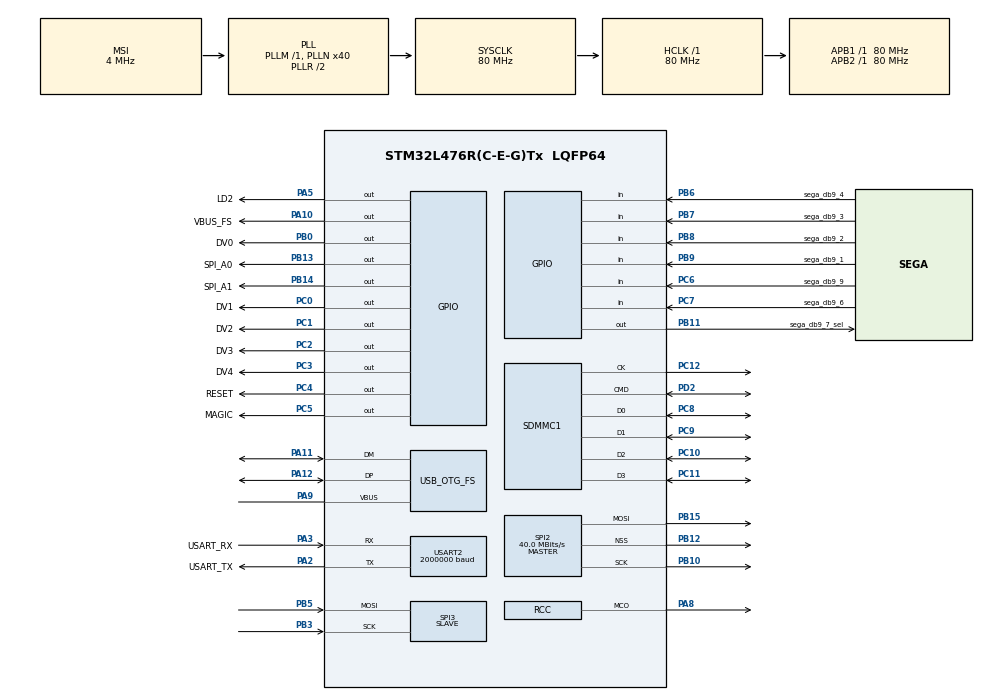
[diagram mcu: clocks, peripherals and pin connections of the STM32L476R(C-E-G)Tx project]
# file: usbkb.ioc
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Dma.Request0=USART2_RX
Dma.Request1=USART2_TX
Dma.Request2=SPI2_TX
Dma.SPI2_TX.2.Direction=DMA_MEMORY_TO_PERIPH
Dma.SPI2_TX.2.Instance=DMA1_Channel5
Dma.SPI2_TX.2.MemDataAlignment=DMA_MDATAALIGN_BYTE
Dma.SPI2_TX.2.MemInc=DMA_MINC_ENABLE
Dma.SPI2_TX.2.Mode=DMA_NORMAL
Dma.SPI2_TX.2.PeriphDataAlignment=DMA_PDATAALIGN_BYTE
Dma.SPI2_TX.2.PeriphInc=DMA_PINC_DISABLE
Dma.SPI2_TX.2.Priority=DMA_PRIORITY_LOW
Dma.USART2_RX.0.Direction=DMA_PERIPH_TO_MEMORY
Dma.USART2_RX.0.Instance=DMA1_Channel6
Dma.USART2_RX.0.MemDataAlignment=DMA_MDATAALIGN_BYTE
Dma.USART2_RX.0.MemInc=DMA_MINC_ENABLE
Dma.USART2_RX.0.Mode=DMA_CIRCULAR
Dma.USART2_RX.0.PeriphDataAlignment=DMA_PDATAALIGN_BYTE
Dma.USART2_RX.0.PeriphInc=DMA_PINC_DISABLE
Dma.USART2_RX.0.Priority=DMA_PRIORITY_LOW
Dma.USART2_TX.1.Direction=DMA_MEMORY_TO_PERIPH
Dma.USART2_TX.1.Instance=DMA1_Channel7
Dma.USART2_TX.1.MemDataAlignment=DMA_MDATAALIGN_BYTE
Dma.USART2_TX.1.MemInc=DMA_MINC_ENABLE
Dma.USART2_TX.1.Mode=DMA_NORMAL
Dma.USART2_TX.1.PeriphDataAlignment=DMA_PDATAALIGN_BYTE
Dma.USART2_TX.1.PeriphInc=DMA_PINC_DISABLE
Dma.USART2_TX.1.Priority=DMA_PRIORITY_LOW
Mcu.Family=STM32L4
Mcu.Name=STM32L476R(C-E-G)Tx
Mcu.Package=LQFP64
NVIC.DMA1_Channel5_IRQn=true\:0\:0\:false\:false\:true\:false\:true\:true
NVIC.DMA1_Channel6_IRQn=true\:0\:0\:false\:false\:true\:false\:true\:true
NVIC.DMA1_Channel7_IRQn=true\:0\:0\:false\:false\:true\:false\:true\:true
NVIC.OTG_FS_IRQn=true\:0\:0\:false\:false\:true\:true\:true\:true
NVIC.PriorityGroup=NVIC_PRIORITYGROUP_4
NVIC.SPI2_IRQn=true\:0\:0\:false\:false\:true\:true\:true\:true
NVIC.SPI3_IRQn=true\:0\:0\:false\:false\:true\:true\:true\:true
NVIC.TIM3_IRQn=true\:0\:0\:false\:false\:true\:true\:true\:true
NVIC.TIM7_IRQn=true\:15\:0\:false\:false\:true\:false\:true\:true
NVIC.TimeBase=TIM7_IRQn
NVIC.TimeBaseIP=TIM7
NVIC.USART2_IRQn=true\:0\:0\:false\:false\:true\:true\:true\:true
PA10.GPIO_Label=VBUS_FS
PA10.Signal=GPIO_Output
PA11.Mode=Host_Only
PA11.Signal=USB_OTG_FS_DM
PA12.Mode=Host_Only
PA12.Signal=USB_OTG_FS_DP
PA13\ (JTMS-SWDIO).GPIO_Label=TMS
PA13\ (JTMS-SWDIO).Mode=Serial_Wire
PA13\ (JTMS-SWDIO).Signal=SYS_JTMS-SWDIO
PA14\ (JTCK-SWCLK).GPIO_Label=TCK
PA14\ (JTCK-SWCLK).Mode=Serial_Wire
PA14\ (JTCK-SWCLK).Signal=SYS_JTCK-SWCLK
PA2.GPIO_Label=USART_TX
PA2.GPIO_Mode=GPIO_MODE_AF_PP
PA2.GPIO_PuPd=GPIO_NOPULL
PA2.GPIO_Speed=GPIO_SPEED_FREQ_VERY_HIGH
PA2.Mode=Asynchronous
PA2.Signal=USART2_TX
PA3.GPIO_Label=USART_RX
PA3.GPIO_Mode=GPIO_MODE_AF_PP
PA3.GPIO_PuPd=GPIO_NOPULL
PA3.GPIO_Speed=GPIO_SPEED_FREQ_VERY_HIGH
PA3.Mode=Asynchronous
PA3.Signal=USART2_RX
PA5.GPIO_Label=LD2
PA5.Signal=GPIO_Output
PA8.Mode=Clock-out
PA8.Signal=RCC_MCO
PA9.Mode=Activate_VBUS
PA9.Signal=USB_OTG_FS_VBUS
PB0.GPIO_Label=DV0
PB0.Signal=GPIO_Output
PB10.GPIO_PuPd=GPIO_NOPULL
PB10.Mode=TX_Only_Simplex_Unidirect_Master
PB10.Signal=SPI2_SCK
PB11.GPIO_Label=sega_db9_7_sel
PB11.GPIO_PuPd=GPIO_PULLDOWN
PB11.Signal=GPIO_Output
PB12.GPIO_PuPd=GPIO_NOPULL
PB12.Mode=NSS_Signal_Hard_Output
PB12.Signal=SPI2_NSS
PB13.GPIO_Label=SPI_A0
PB13.Signal=GPIO_Output
PB14.GPIO_Label=SPI_A1
PB14.Signal=GPIO_Output
PB15.GPIO_PuPd=GPIO_NOPULL
PB15.Mode=TX_Only_Simplex_Unidirect_Master
PB15.Signal=SPI2_MOSI
PB3\ (JTDO-TRACESWO).Mode=RX_Only_Simplex_Unidirect_Slave
PB3\ (JTDO-TRACESWO).Signal=SPI3_SCK
PB5.Mode=RX_Only_Simplex_Unidirect_Slave
PB5.Signal=SPI3_MOSI
PB6.GPIO_Label=sega_db9_4
PB6.GPIO_PuPd=GPIO_PULLDOWN
PB6.Signal=GPIO_Input
PB7.GPIO_Label=sega_db9_3
PB7.GPIO_PuPd=GPIO_PULLDOWN
PB7.Signal=GPIO_Input
PB8.GPIO_Label=sega_db9_2
PB8.GPIO_PuPd=GPIO_PULLDOWN
PB8.Signal=GPIO_Input
PB9.GPIO_Label=sega_db9_1
PB9.GPIO_PuPd=GPIO_PULLDOWN
PB9.Signal=GPIO_Input
PC0.GPIO_Label=DV1
PC0.Signal=GPIO_Output
PC1.GPIO_Label=DV2
PC1.Signal=GPIO_Output
PC10.Mode=SD_4_bits_Wide_bus
PC10.Signal=SDMMC1_D2
PC11.Mode=SD_4_bits_Wide_bus
PC11.Signal=SDMMC1_D3
PC12.Mode=SD_4_bits_Wide_bus
PC12.Signal=SDMMC1_CK
PC2.GPIO_Label=DV3
PC2.Signal=GPIO_Output
PC3.GPIO_Label=DV4
PC3.Signal=GPIO_Output
PC4.GPIO_Label=RESET
PC4.GPIO_ModeDefaultOutputPP=GPIO_MODE_OUTPUT_PP
PC4.PinState=GPIO_PIN_SET
PC4.Signal=GPIO_Output
PC5.GPIO_Label=MAGIC
PC5.GPIO_ModeDefaultOutputPP=GPIO_MODE_OUTPUT_OD
PC5.PinState=GPIO_PIN_SET
PC5.Signal=GPIO_Output
PC6.GPIO_Label=sega_db9_9
PC6.GPIO_PuPd=GPIO_PULLDOWN
PC6.Signal=GPIO_Input
PC7.GPIO_Label=sega_db9_6
PC7.GPIO_PuPd=GPIO_PULLDOWN
PC7.Signal=GPIO_Input
PC8.Mode=SD_4_bits_Wide_bus
PC8.Signal=SDMMC1_D0
PC9.Mode=SD_4_bits_Wide_bus
PC9.Signal=SDMMC1_D1
PD2.Mode=SD_4_bits_Wide_bus
PD2.Signal=SDMMC1_CMD
ProjectManager.HeapSize=0x4000
ProjectManager.StackSize=0x4000
ProjectManager.TargetToolchain=Makefile
RCC.ADCFreq_Value=48000000
RCC.AHBFreq_Value=80000000
RCC.APB1Freq_Value=80000000
RCC.APB1TimFreq_Value=80000000
RCC.APB2Freq_Value=80000000
RCC.APB2TimFreq_Value=80000000
RCC.CortexFreq_Value=80000000
RCC.HCLKFreq_Value=80000000
RCC.HSE_VALUE=8000000
RCC.HSI_VALUE=16000000
RCC.LSE_VALUE=32768
RCC.MSI_VALUE=4000000
RCC.PLLN=40
RCC.PLLSAI1N=24
RCC.PREFETCH_ENABLE=1
RCC.SYSCLKFreq_VALUE=80000000
RCC.SYSCLKSource=RCC_SYSCLKSOURCE_PLLCLK
RCC.USBFreq_Value=48000000
RCC.VCOOutputFreq_Value=160000000
SPI2.BaudRatePrescaler=SPI_BAUDRATEPRESCALER_2
SPI2.CalculateBaudRate=40.0 MBits/s
SPI2.DataSize=SPI_DATASIZE_8BIT
SPI2.Direction=SPI_DIRECTION_2LINES
SPI2.Mode=SPI_MODE_MASTER
SPI2.VirtualNSS=VM_NSSHARD
SPI2.VirtualType=VM_MASTER
SPI3.DataSize=SPI_DATASIZE_11BIT
SPI3.Direction=SPI_DIRECTION_2LINES_RXONLY
SPI3.FirstBit=SPI_FIRSTBIT_LSB
SPI3.Mode=SPI_MODE_SLAVE
SPI3.VirtualType=VM_SLAVE
USART2.BaudRate=2000000
USART2.VirtualMode-Asynchronous=VM_ASYNC
USB_HOST.BSP.number=1
USB_HOST.USBH_DEBUG_LEVEL=3
USB_HOST.USBH_HandleTypeDef=hUsbHostFS
USB_HOST.VirtualModeFS=Hid
USB_HOST0.BSP.STBoard=false
USB_HOST0.BSP.api=Unknown
USB_HOST0.BSP.instance=PA10
USB_HOST0.BSP.ip=GPIO
USB_HOST0.BSP.mode=Output
USB_HOST0.BSP.name=Drive_VBUS_FS
USB_HOST0.BSP.solution=PA10
USB_OTG_FS.VirtualMode=Host_Only
USB_OTG_FS.phy_itface=HCD_PHY_EMBEDDED
VP_SYS_VS_tim7.Mode=TIM7
VP_TIM3_VS_OPM.Mode=OPM_bit
VP_USB_HOST_VS_USB_HOST_HID_FS.Mode=HID_FS
board=NUCLEO-L476RG

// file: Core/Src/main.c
/* USER CODE BEGIN Header */
/**
  ******************************************************************************
  * @file           : main.c
  * @brief          : Main program body
  ******************************************************************************
  * @attention
  *
  * <h2><center>&copy; Copyright (c) 2021 STMicroelectronics.
  * All rights reserved.</center></h2>
  *
  * This software component is licensed by ST under Ultimate Liberty license
  * SLA0044, the "License"; You may not use this file except in compliance with
  * the License. You may obtain a copy of the License at:
  *                             www.st.com/SLA0044
  *
  ******************************************************************************
  */
/* USER CODE END Header */
#include "main.h"
#include "dma.h"
#include "sdmmc.h"
#include "spi.h"
#include "tim.h"
#include "usart.h"
#include "usb_host.h"
#include "gpio.h"

/* USER CODE BEGIN Includes */
#include "retarget.h"
#include "usbh_def.h"
#include "spectrum.h"
#include "ps2.h"
#include "sega_gp.h"
/* USER CODE END Includes */

/* USER CODE BEGIN PV */
uint16_t ps2_raw_data;
/* USER CODE END PV */

void SystemClock_Config(void);
void PeriphCommonClock_Config(void);
void MX_USB_HOST_Process(void);

/* USER CODE BEGIN 0 */
dev_role_t role;
int mouse_event_cnt;
/* USER CODE END 0 */

int main(void)
{

  /* MCU Configuration--------------------------------------------------------*/

  /* Reset of all peripherals, Initializes the Flash interface and the Systick. */
  HAL_Init();

  /* Configure the system clock */
  SystemClock_Config();

/* Configure the peripherals common clocks */
  PeriphCommonClock_Config();

  /* Initialize all configured peripherals */
  MX_GPIO_Init();
  MX_DMA_Init();
  MX_USART2_UART_Init();
  MX_USB_HOST_Init();
  MX_SPI2_Init();
  MX_TIM3_Init();
  MX_SDMMC1_SD_Init();
  MX_SPI3_Init();
  /* USER CODE BEGIN 2 */
  printf("Device start!\r\n");
  epm_init();
  HAL_SPI_Receive_IT(&hspi3, &ps2_raw_data, 1);
  ps2_init();
  HAL_TIM_PWM_Start(&htim3, TIM_CHANNEL_1);
  HAL_GPIO_WritePin(RESET_GPIO_Port, RESET_Pin, GPIO_PIN_RESET);
  printf("Break button RESET\r\n");
  /* USER CODE END 2 */

  /* Infinite loop */
  /* USER CODE BEGIN WHILE */
  extern USBH_HandleTypeDef hUsbHostFS;
  int i = 0;
  int last_mouse_ev_cnt = 0;
  int reset_kempston = 0;
  while (1)
  {
    // Сохраним счетчик событий мышки
    last_mouse_ev_cnt = mouse_event_cnt;

    /* USER CODE END WHILE */
    MX_USB_HOST_Process();

    /* USER CODE BEGIN 3 */

    // Обработка событий от ps2.
    ps2_proc();

    // Моргаем светодиодом, если подключен USB.
    if(hUsbHostFS.device.is_connected) {
      if(!(i++%16384)) {
        //HAL_GPIO_TogglePin(LD2_GPIO_Port, LD2_Pin);
        opt_update();
      }
    }
    else {
      HAL_GPIO_WritePin(LD2_GPIO_Port, LD2_Pin, GPIO_PIN_RESET);
      role = use_none;
    }

    // Устраним движение курсора если нет событий от мышки.
    if((last_mouse_ev_cnt == mouse_event_cnt) && (reset_kempston++ > 30000) && (role == use_mouse)) {
      printf("Stop mouse move.\n");
      HAL_GPIO_WritePin(DV0_GPIO_Port, DV0_Pin, GPIO_PIN_RESET);
      HAL_GPIO_WritePin(DV1_GPIO_Port, DV1_Pin, GPIO_PIN_RESET);
      HAL_GPIO_WritePin(DV2_GPIO_Port, DV2_Pin, GPIO_PIN_RESET);
      HAL_GPIO_WritePin(DV3_GPIO_Port, DV3_Pin, GPIO_PIN_RESET);
      reset_kempston = 0;
    }

    // Сброс буфера printf в uart используя DMA.
    printf_flush();
  }
  /* USER CODE END 3 */
}

void SystemClock_Config(void)
{
  RCC_OscInitTypeDef RCC_OscInitStruct = {0};
  RCC_ClkInitTypeDef RCC_ClkInitStruct = {0};

  /** Configure the main internal regulator output voltage
  */
  if (HAL_PWREx_ControlVoltageScaling(PWR_REGULATOR_VOLTAGE_SCALE1) != HAL_OK)
  {
    Error_Handler();
  }

  /** Initializes the RCC Oscillators according to the specified parameters
  * in the RCC_OscInitTypeDef structure.
  */
  RCC_OscInitStruct.OscillatorType = RCC_OSCILLATORTYPE_MSI;
  RCC_OscInitStruct.MSIState = RCC_MSI_ON;
  RCC_OscInitStruct.MSICalibrationValue = 0;
  RCC_OscInitStruct.MSIClockRange = RCC_MSIRANGE_6;
  RCC_OscInitStruct.PLL.PLLState = RCC_PLL_ON;
  RCC_OscInitStruct.PLL.PLLSource = RCC_PLLSOURCE_MSI;
  RCC_OscInitStruct.PLL.PLLM = 1;
  RCC_OscInitStruct.PLL.PLLN = 40;
  RCC_OscInitStruct.PLL.PLLP = RCC_PLLP_DIV7;
  RCC_OscInitStruct.PLL.PLLQ = RCC_PLLQ_DIV2;
  RCC_OscInitStruct.PLL.PLLR = RCC_PLLR_DIV2;
  if (HAL_RCC_OscConfig(&RCC_OscInitStruct) != HAL_OK)
  {
    Error_Handler();
  }

  /** Initializes the CPU, AHB and APB buses clocks
  */
  RCC_ClkInitStruct.ClockType = RCC_CLOCKTYPE_HCLK|RCC_CLOCKTYPE_SYSCLK
                              |RCC_CLOCKTYPE_PCLK1|RCC_CLOCKTYPE_PCLK2;
  RCC_ClkInitStruct.SYSCLKSource = RCC_SYSCLKSOURCE_PLLCLK;
  RCC_ClkInitStruct.AHBCLKDivider = RCC_SYSCLK_DIV1;
  RCC_ClkInitStruct.APB1CLKDivider = RCC_HCLK_DIV1;
  RCC_ClkInitStruct.APB2CLKDivider = RCC_HCLK_DIV1;

  if (HAL_RCC_ClockConfig(&RCC_ClkInitStruct, FLASH_LATENCY_4) != HAL_OK)
  {
    Error_Handler();
  }
  HAL_RCC_MCOConfig(RCC_MCO1, RCC_MCO1SOURCE_SYSCLK, RCC_MCODIV_1);
}

void PeriphCommonClock_Config(void)
{
  RCC_PeriphCLKInitTypeDef PeriphClkInit = {0};

  /** Initializes the peripherals clock
  */
  PeriphClkInit.PeriphClockSelection = RCC_PERIPHCLK_USB|RCC_PERIPHCLK_SDMMC1;
  PeriphClkInit.UsbClockSelection = RCC_USBCLKSOURCE_PLLSAI1;
  PeriphClkInit.Sdmmc1ClockSelection = RCC_SDMMC1CLKSOURCE_PLLSAI1;
  PeriphClkInit.PLLSAI1.PLLSAI1Source = RCC_PLLSOURCE_MSI;
  PeriphClkInit.PLLSAI1.PLLSAI1M = 1;
  PeriphClkInit.PLLSAI1.PLLSAI1N = 24;
  PeriphClkInit.PLLSAI1.PLLSAI1P = RCC_PLLP_DIV7;
  PeriphClkInit.PLLSAI1.PLLSAI1Q = RCC_PLLQ_DIV2;
  PeriphClkInit.PLLSAI1.PLLSAI1R = RCC_PLLR_DIV2;
  PeriphClkInit.PLLSAI1.PLLSAI1ClockOut = RCC_PLLSAI1_48M2CLK;
  if (HAL_RCCEx_PeriphCLKConfig(&PeriphClkInit) != HAL_OK)
  {
    Error_Handler();
  }
}

void HAL_TIM_PeriodElapsedCallback(TIM_HandleTypeDef *htim)
{
  if (htim->Instance == TIM7) {
    HAL_IncTick();
  }
}

void Error_Handler(void)
{
  /* USER CODE BEGIN Error_Handler_Debug */
  /* User can add his own implementation to report the HAL error return state */
  //printf("error handler\r\n\n");
  //printf_flush();
  //HAL_Delay(10);
  __disable_irq();
  while (1)
  {
  }
  /* USER CODE END Error_Handler_Debug */
}
